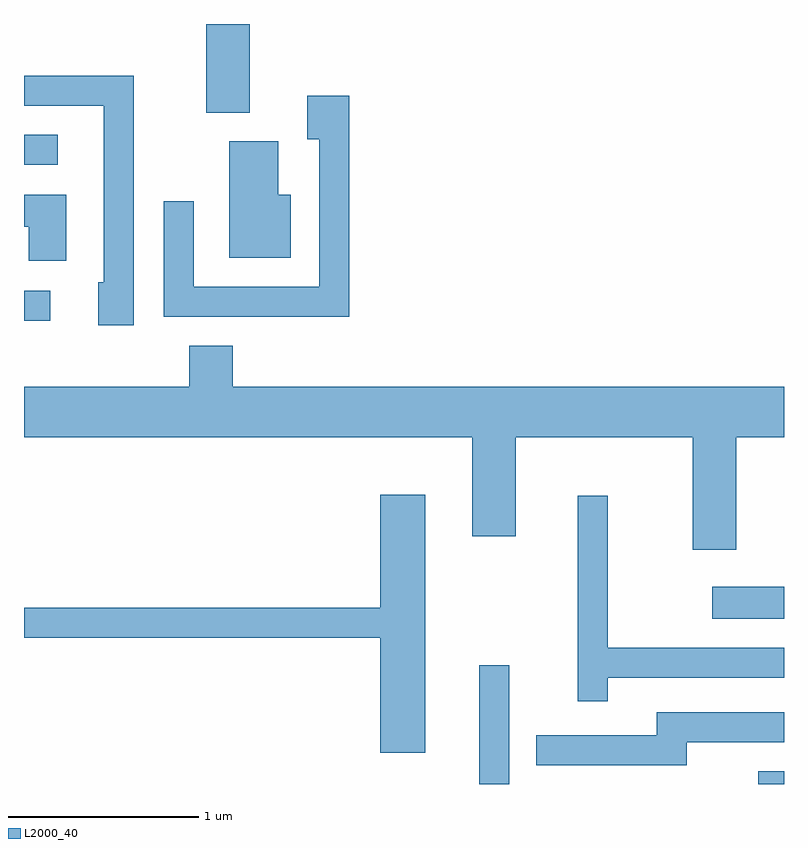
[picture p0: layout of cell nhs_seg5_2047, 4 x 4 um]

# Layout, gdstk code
import gdstk
lib = gdstk.Library(unit=1e-6, precision=1e-09)
def R(c, l, rs):  # rectangles x0, y0, x1, y1
    for r in rs: c.add(gdstk.rectangle(r[:2], r[2:], *l))
def P(c, l, *ps):  # polygons
    for p in ps: c.add(gdstk.Polygon(p, *l))
L2000_40 = (2000, 40)

nhs_seg5_2047 = lib.new_cell('nhs_seg5_2047')
R(nhs_seg5_2047, L2000_40, [(248.006,1466.072,248.164,1466.698), (249.476,1466.072,249.611,1466.139), (249.233,1466.941,249.611,1467.109), (245.611,1468.511,245.748,1468.669), (245.611,1469.331,245.788,1469.489), (246.571,1469.606,246.799,1470.072)])
P(nhs_seg5_2047, L2000_40, [(246.189,1469.799),(245.611,1469.799),(245.611,1469.641),(246.031,1469.641),(246.031,1468.714),(246.001,1468.714),(246.001,1468.486),(246.189,1468.486)],
  [(247.324,1469.694),(247.101,1469.694),(247.101,1469.466),(247.166,1469.466),(247.166,1468.689),(246.504,1468.689),(246.504,1469.138),(246.346,1469.138),(246.346,1468.531),(247.324,1468.531)],
  [(247.014,1469.174),(246.949,1469.174),(246.949,1469.454),(246.691,1469.454),(246.691,1468.841),(247.014,1468.841)],
  [(245.834,1469.174),(245.611,1469.174),(245.611,1469.006),(245.636,1469.006),(245.636,1468.826),(245.834,1468.826)],
  [(249.359,1467.896),(249.611,1467.896),(249.611,1468.164),(246.709,1468.164),(246.709,1468.379),(246.481,1468.379),(246.481,1468.164),(245.611,1468.164),(245.611,1467.896),(247.971,1467.896),(247.971,1467.376),(248.199,1467.376),(248.199,1467.896),(249.131,1467.896),(249.131,1467.306),(249.359,1467.306)],
  [(247.724,1467.594),(247.486,1467.594),(247.486,1466.999),(245.611,1466.999),(245.611,1466.841),(247.486,1466.841),(247.486,1466.236),(247.724,1466.236)],
  [(248.684,1466.631),(249.611,1466.631),(249.611,1466.789),(248.684,1466.789),(248.684,1467.588),(248.526,1467.588),(248.526,1466.508),(248.684,1466.508)],
  [(249.099,1466.291),(249.611,1466.291),(249.611,1466.449),(248.941,1466.449),(248.941,1466.329),(248.308,1466.329),(248.308,1466.171),(249.099,1466.171)])

lib.write_gds('nhs_seg5_2047.gds')
